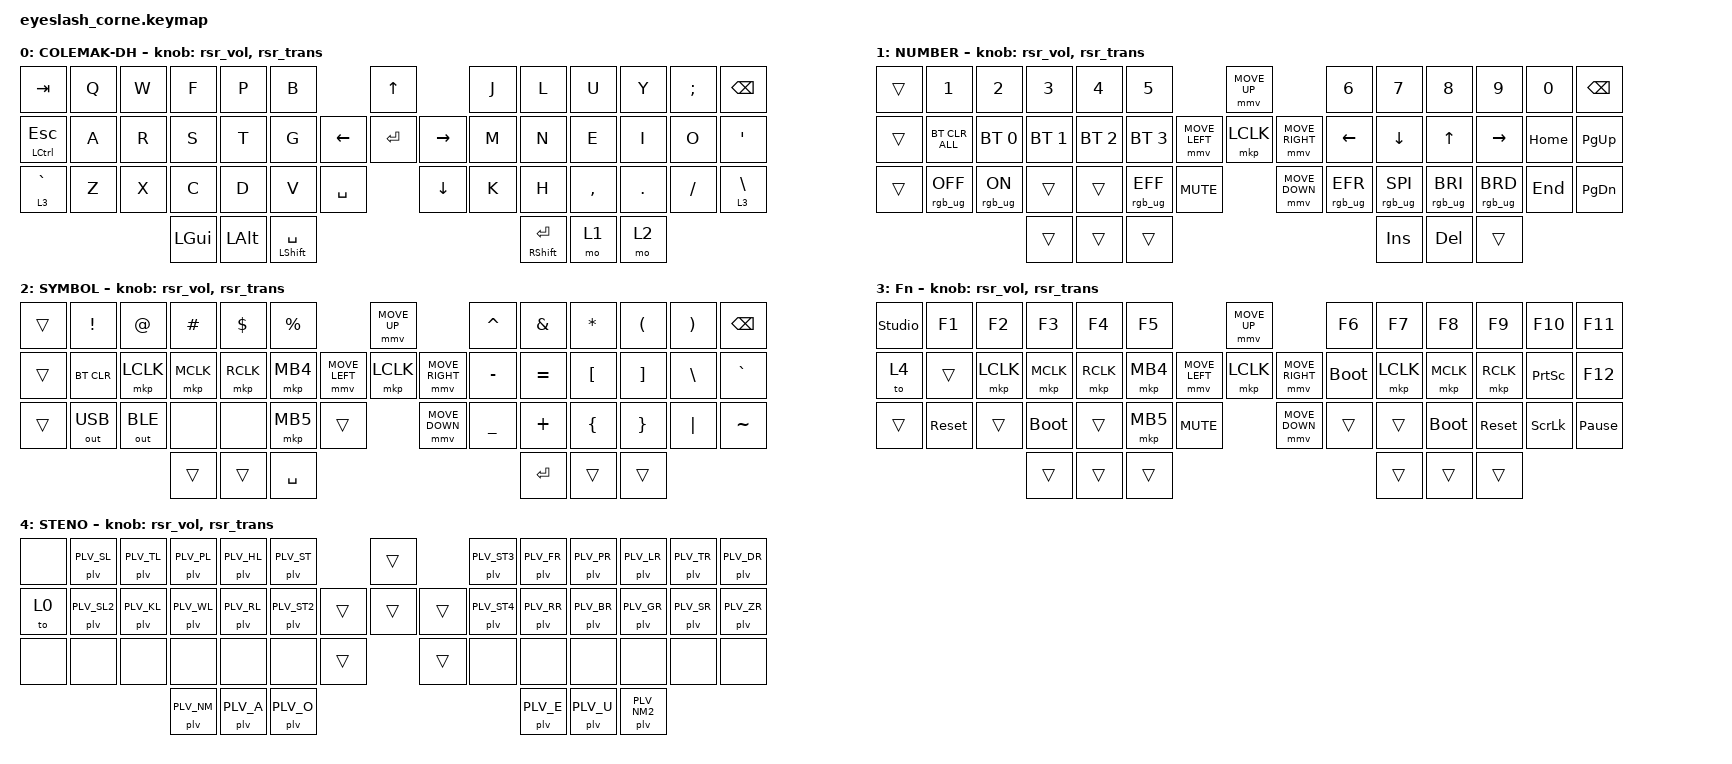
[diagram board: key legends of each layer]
#define ZMK_POINTING_DEFAULT_MOVE_VAL 1200  // 600
#define ZMK_POINTING_DEFAULT_SCRL_VAL 25   // 10

#include <input/processors.dtsi>
#include <zephyr/dt-bindings/input/input-event-codes.h>
#include <behaviors.dtsi>
#include <dt-bindings/zmk/bt.h>
#include <dt-bindings/zmk/ext_power.h>
#include <dt-bindings/zmk/keys.h>
#include <dt-bindings/zmk/pointing.h>
#include <dt-bindings/zmk/outputs.h>
#include <dt-bindings/zmk/rgb.h>
#include <behaviors/runtime-sensor-rotate.dtsi>
#include <behaviors/plover_hid.dtsi>
#include <dt-bindings/zmk/hid-io/plover_hid.h>

&mmv_input_listener { input-processors = <&zip_xy_scaler 2 1>; };

&msc_input_listener { input-processors = <&zip_scroll_scaler 2 1>; };

&msc {
    acceleration-exponent = <1>;      // 0
    time-to-max-speed-ms = <100>;       // 300
    delay-ms = <0>;                   // 0
};

&mmv {
    time-to-max-speed-ms = <500>;
    acceleration-exponent = <1>;
    trigger-period-ms = <16>;
};


/ {
    behaviors {
        td0: td0 {
            compatible = "zmk,behavior-tap-dance";
            display-name = "Shift/Caps Lock Tap Dance";
            #binding-cells = <0>;
            bindings = <&kp LEFT_SHIFT>, <&kp CAPS>;
        };

        rsr_vol: rsr_vol {
            compatible = "zmk,behavior-runtime-sensor-rotate";
            #sensor-binding-cells = <0>;
            tap-ms = <5>;
            cw-binding = <&kp C_VOL_UP>;
            ccw-binding = <&kp C_VOL_DN>;
        };

        rsr_trans: rsr_trans {
            compatible = "zmk,behavior-runtime-sensor-rotate";
            #sensor-binding-cells = <0>;
            tap-ms = <0>;
        };

        /* Shift on Space/Enter that only counts as Shift for keys on the OPPOSITE hand.
         * Pressing it together with a same-hand key quickly gives the tap (Space/Enter) instead.
         * Holding it past tapping-term-ms gives a plain Shift for any key.
         * Positions: row0 0-12, row1 13-27, row2 28-41, thumbs 42-47. The centre keys
         * (6, 19-21, 34, 35) are not listed on purpose, so they never trigger the hold.
         * To fall back to a plain key, swap `&shift_space LSHFT SPACE` for `&kp SPACE`.
         * Tuning: flavor "hold-preferred" without hold-trigger-on-release gives instant Shift
         * but misfires on rolls. */
        shift_space: shift_space {
            compatible = "zmk,behavior-hold-tap";
            #binding-cells = <2>;
            flavor = "balanced";
            tapping-term-ms = <200>;
            hold-trigger-key-positions = <7 8 9 10 11 12 22 23 24 25 26 27 36 37 38 39 40 41 45 46 47>;
            hold-trigger-on-release;
            bindings = <&kp>, <&kp>;
        };

        shift_enter: shift_enter {
            compatible = "zmk,behavior-hold-tap";
            #binding-cells = <2>;
            flavor = "balanced";
            tapping-term-ms = <200>;
            hold-trigger-key-positions = <0 1 2 3 4 5 13 14 15 16 17 18 28 29 30 31 32 33 42 43 44>;
            hold-trigger-on-release;
            bindings = <&kp>, <&kp>;
        };
    };

    rgb_encoder: rgb_encoder {
        compatible = "zmk,behavior-sensor-rotate";
        #sensor-binding-cells = <0>;
        bindings = <&rgb_ug RGB_BRI>, <&rgb_ug RGB_BRD>;
    };

    scroll_encoder: scroll_encoder {
        compatible = "zmk,behavior-sensor-rotate";
        #sensor-binding-cells = <0>;
        bindings = <&msc SCRL_DOWN>, <&msc SCRL_UP>;
        tap-ms = <100>;
    };


    /* Same-finger chords (top+home, home+bottom of one column), after the Kombol layout
     * (https://github.com/skychil/kombol), base layer only. Defaults live here; DYA Studio
     * can override or reset each slot at runtime. Shift turns - = [ ] into _ + { }.
     * Key positions: row0 0-12, row1 13-27, row2 28-41, thumbs 42-47. */
    runtime_combo_defaults {
        compatible = "cormoran,runtime-combo-defaults";

        /* Space + Enter together: hold the Fn layer. Never a real shortcut, so no clash. */
        combo_fn_layer {
            key-positions = <44 45>;
            bindings = <&mo 3>;
            layers = <0>;
            display-name = "Fn layer (Space+Enter)";
        };

        combo_exclaim {
            key-positions = <1 14>;
            bindings = <&kp EXCL>;
            layers = <0>;
            display-name = "!";
        };

        combo_grave {
            key-positions = <14 29>;
            bindings = <&kp GRAVE>;
            layers = <0>;
            display-name = "`";
        };

        combo_at {
            key-positions = <2 15>;
            bindings = <&kp AT>;
            layers = <0>;
            display-name = "@";
        };

        combo_tilde {
            key-positions = <15 30>;
            bindings = <&kp TILDE>;
            layers = <0>;
            display-name = "~";
        };

        combo_hash {
            key-positions = <3 16>;
            bindings = <&kp HASH>;
            layers = <0>;
            display-name = "#";
        };

        combo_dollar {
            key-positions = <16 31>;
            bindings = <&kp DLLR>;
            layers = <0>;
            display-name = "$";
        };

        combo_percent {
            key-positions = <4 17>;
            bindings = <&kp PRCNT>;
            layers = <0>;
            display-name = "%";
        };

        combo_caret {
            key-positions = <17 32>;
            bindings = <&kp CARET>;
            layers = <0>;
            display-name = "^";
        };

        combo_ampersand {
            key-positions = <5 18>;
            bindings = <&kp AMPS>;
            layers = <0>;
            display-name = "&";
        };

        combo_asterisk {
            key-positions = <18 33>;
            bindings = <&kp ASTRK>;
            layers = <0>;
            display-name = "*";
        };

        combo_lparen {
            key-positions = <7 22>;
            bindings = <&kp LPAR>;
            layers = <0>;
            display-name = "(";
        };

        combo_rparen {
            key-positions = <22 36>;
            bindings = <&kp RPAR>;
            layers = <0>;
            display-name = ")";
        };

        combo_lbracket {
            key-positions = <8 23>;
            bindings = <&kp LBKT>;
            layers = <0>;
            display-name = "[";
        };

        combo_rbracket {
            key-positions = <23 37>;
            bindings = <&kp RBKT>;
            layers = <0>;
            display-name = "]";
        };

        combo_lbrace {
            key-positions = <9 24>;
            bindings = <&kp LBRC>;
            layers = <0>;
            display-name = "{";
        };

        combo_rbrace {
            key-positions = <24 38>;
            bindings = <&kp RBRC>;
            layers = <0>;
            display-name = "}";
        };

        combo_langle {
            key-positions = <10 25>;
            bindings = <&kp LT>;
            layers = <0>;
            display-name = "<";
        };

        combo_rangle {
            key-positions = <25 39>;
            bindings = <&kp GT>;
            layers = <0>;
            display-name = ">";
        };

        combo_minus {
            key-positions = <11 26>;
            bindings = <&kp MINUS>;
            layers = <0>;
            display-name = "-";
        };

        combo_equal {
            key-positions = <26 40>;
            bindings = <&kp EQUAL>;
            layers = <0>;
            display-name = "=";
        };
    };

    keymap {
        compatible = "zmk,keymap";

        default_layer {
            display-name = "COLEMAK-DH";
            bindings = <
&kp TAB        &kp Q  &kp W      &kp F     &kp P  &kp B                              &kp UP                &kp J            &kp L  &kp U      &kp Y    &kp SEMI  &kp BSPC
&mt LCTRL ESC  &kp A  &kp R      &kp S     &kp T  &kp G                    &kp LEFT  &kp ENTER  &kp RIGHT  &kp M            &kp N  &kp E      &kp I    &kp O     &kp SQT
&lt 3 GRAVE    &kp Z  &kp X      &kp C     &kp D  &kp V       &kp SPACE              &kp DOWN              &kp K            &kp H  &kp COMMA  &kp DOT  &kp FSLH  &lt 3 BSLH
                                 &kp LGUI  &kp LALT  &shift_space LSHFT SPACE                              &shift_enter RSHFT ENTER  &mo 1  &mo 2
            >;
            sensor-bindings = <&rsr_vol &rsr_trans>;
        };

        lower_layer {
            display-name = "NUMBER";
            bindings = <
&trans  &kp N1           &kp N2          &kp N3        &kp N4        &kp N5                                        &mmv MOVE_UP                     &kp N6           &kp N7           &kp N8           &kp N9           &kp N0    &kp BSPC
&trans  &bt BT_CLR_ALL   &bt BT_SEL 0    &bt BT_SEL 1  &bt BT_SEL 2  &bt BT_SEL 3                           &mmv MOVE_LEFT  &mkp LCLK       &mmv MOVE_RIGHT  &kp LEFT         &kp DOWN         &kp UP           &kp RIGHT        &kp HOME  &kp PG_UP
&trans  &rgb_ug RGB_OFF  &rgb_ug RGB_ON  &trans        &trans        &rgb_ug RGB_EFF &kp C_MUTE                    &mmv MOVE_DOWN                   &rgb_ug RGB_EFR  &rgb_ug RGB_SPI  &rgb_ug RGB_BRI  &rgb_ug RGB_BRD  &kp END   &kp PG_DN
                                         &trans        &trans        &trans                                                                         &kp INS          &kp DEL          &trans
            >;
            sensor-bindings = <&rsr_vol &rsr_trans>;
        };

        raise_layer {
            display-name = "SYMBOL";
            bindings = <
&trans  &kp EXCL      &kp AT        &kp HASH   &kp DLLR   &kp PRCNT                           &mmv MOVE_UP                     &kp CARET  &kp AMPS   &kp ASTRK  &kp LPAR  &kp RPAR  &kp BSPC
&trans  &bt BT_CLR    &mkp LCLK     &mkp MCLK  &mkp RCLK  &mkp MB4            &mmv MOVE_LEFT  &mkp LCLK       &mmv MOVE_RIGHT  &kp MINUS  &kp EQUAL  &kp LBKT   &kp RBKT  &kp BSLH  &kp GRAVE
&trans  &out OUT_USB  &out OUT_BLE  &none      &none      &mkp MB5  &trans                    &mmv MOVE_DOWN                   &kp UNDER  &kp PLUS   &kp LBRC   &kp RBRC  &kp PIPE  &kp TILDE
                                    &trans     &trans     &kp SPACE                                                            &kp RET    &trans     &trans
            >;
            sensor-bindings = <&rsr_vol &rsr_trans>;
        };

        layer_3 {
            display-name = "Fn";
            bindings = <
&studio_unlock   &kp F1      &kp F2      &kp F3       &kp F4     &kp F5                                  &mmv MOVE_UP                     &kp F6       &kp F7     &kp F8       &kp F9      &kp F10          &kp F11
&to 4   &trans      &mkp LCLK   &mkp MCLK    &mkp RCLK  &mkp MB4                &mmv MOVE_LEFT  &mkp LCLK       &mmv MOVE_RIGHT  &bootloader  &mkp LCLK  &mkp MCLK    &mkp RCLK   &kp PRINTSCREEN  &kp F12
&trans  &sys_reset  &trans      &bootloader  &trans     &mkp MB5  &kp C_MUTE                    &mmv MOVE_DOWN                   &trans       &trans     &bootloader  &sys_reset  &kp SCROLLLOCK   &kp PAUSE_BREAK
                                &trans      &trans      &trans                                                                   &trans       &trans     &trans
            >;
            sensor-bindings = <&rsr_vol &rsr_trans>;
        };

        /* Plover HID steno layer. Enter: &to 4 on the Fn layer (below studio_unlock).
         * Leave: &to 0 in the same position here. Left outer column and the bottom
         * rows are unused; arrows/enter/space fall through (&trans) to layer 0. */
        steno_layer {
            display-name = "STENO";
            bindings = <
&none   &plv PLV_SL   &plv PLV_TL  &plv PLV_PL  &plv PLV_HL  &plv PLV_ST                                  &trans                  &plv PLV_ST3  &plv PLV_FR  &plv PLV_PR  &plv PLV_LR  &plv PLV_TR  &plv PLV_DR
&to 0   &plv PLV_SL2  &plv PLV_KL  &plv PLV_WL  &plv PLV_RL  &plv PLV_ST2                        &trans  &trans  &trans  &plv PLV_ST4  &plv PLV_RR  &plv PLV_BR  &plv PLV_GR  &plv PLV_SR  &plv PLV_ZR
&none   &none         &none        &none        &none        &none        &trans                          &trans                  &none         &none        &none        &none        &none        &none
                                                &plv PLV_NM  &plv PLV_A   &plv PLV_O                                              &plv PLV_E    &plv PLV_U   &plv PLV_NM2
            >;
            sensor-bindings = <&rsr_vol &rsr_trans>;
        };
    };
};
